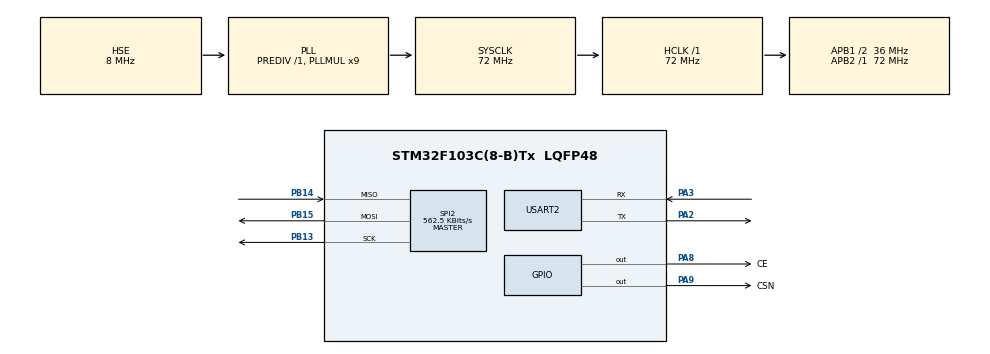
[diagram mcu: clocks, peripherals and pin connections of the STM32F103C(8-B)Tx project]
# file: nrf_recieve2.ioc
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Mcu.Family=STM32F1
Mcu.Name=STM32F103C(8-B)Tx
Mcu.Package=LQFP48
NVIC.PriorityGroup=NVIC_PRIORITYGROUP_4
PA13.Mode=Serial_Wire
PA13.Signal=SYS_JTMS-SWDIO
PA14.Mode=Serial_Wire
PA14.Signal=SYS_JTCK-SWCLK
PA2.Mode=Asynchronous
PA2.Signal=USART2_TX
PA3.Mode=Asynchronous
PA3.Signal=USART2_RX
PA8.GPIO_Label=CE
PA8.Signal=GPIO_Output
PA9.GPIO_Label=CSN
PA9.Signal=GPIO_Output
PB13.Mode=Full_Duplex_Master
PB13.Signal=SPI2_SCK
PB14.Mode=Full_Duplex_Master
PB14.Signal=SPI2_MISO
PB15.Mode=Full_Duplex_Master
PB15.Signal=SPI2_MOSI
PD0-OSC_IN.Mode=HSE-External-Oscillator
PD0-OSC_IN.Signal=RCC_OSC_IN
PD1-OSC_OUT.Mode=HSE-External-Oscillator
PD1-OSC_OUT.Signal=RCC_OSC_OUT
ProjectManager.HeapSize=0x200
ProjectManager.StackSize=0x400
ProjectManager.TargetToolchain=TrueSTUDIO
RCC.AHBFreq_Value=72000000
RCC.APB1CLKDivider=RCC_HCLK_DIV2
RCC.APB1Freq_Value=36000000
RCC.APB1TimFreq_Value=72000000
RCC.APB2Freq_Value=72000000
RCC.APB2TimFreq_Value=72000000
RCC.HCLKFreq_Value=72000000
RCC.PLLMUL=RCC_PLL_MUL9
RCC.PLLSourceVirtual=RCC_PLLSOURCE_HSE
RCC.SYSCLKFreq_VALUE=72000000
RCC.SYSCLKSource=RCC_SYSCLKSOURCE_PLLCLK
RCC.USBFreq_Value=72000000
SPI2.BaudRatePrescaler=SPI_BAUDRATEPRESCALER_64
SPI2.CalculateBaudRate=562.5 KBits/s
SPI2.Direction=SPI_DIRECTION_2LINES
SPI2.Mode=SPI_MODE_MASTER
SPI2.VirtualType=VM_MASTER
USART2.VirtualMode=VM_ASYNC
board=custom

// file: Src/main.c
/* USER CODE BEGIN Header */
/**
  ******************************************************************************
  * @file           : main.c
  * @brief          : Main program body
  ******************************************************************************
  * @attention
  *
  * <h2><center>&copy; Copyright (c) 2020 STMicroelectronics.
  * All rights reserved.</center></h2>
  *
  * This software component is licensed by ST under BSD 3-Clause license,
  * the "License"; You may not use this file except in compliance with the
  * License. You may obtain a copy of the License at:
  *                        opensource.org/licenses/BSD-3-Clause
  *
  ******************************************************************************
  */
/* USER CODE END Header */

#include "main.h"

/* USER CODE BEGIN Includes */
#include "MY_NRF24.h"
/* USER CODE END Includes */

/* USER CODE BEGIN PM */
#define max_pressure 140
#define max_temp 100
#define max_speed 140
#define max_rpm  160
#define min_voltage 5
#define max_acceleration 140
#define max_steering 200
/* USER CODE END PM */

SPI_HandleTypeDef hspi2;

UART_HandleTypeDef huart2;

void SystemClock_Config(void);
static void MX_GPIO_Init(void);
static void MX_SPI2_Init(void);
static void MX_USART2_UART_Init(void);

/* USER CODE BEGIN 0 */
uint64_t RxpipeAddrs = 0x11223344AA;
uint16_t myRxData[8];
/* USER CODE END 0 */

int main(void)
{

  /* MCU Configuration--------------------------------------------------------*/

  /* Reset of all peripherals, Initializes the Flash interface and the Systick. */
  HAL_Init();

  /* Configure the system clock */
  SystemClock_Config();

  /* Initialize all configured peripherals */
  MX_GPIO_Init();
  MX_SPI2_Init();
  MX_USART2_UART_Init();
  /* USER CODE BEGIN 2 */
  NRF24_begin(GPIOA, CSN_Pin, CE_Pin, hspi2);
  nrf24_DebugUART_Init(huart2);

  	printRadioSettings();

  	NRF24_setAutoAck(true);
  	NRF24_setChannel(52);
  	NRF24_setPayloadSize(32);
  	NRF24_openReadingPipe(1, RxpipeAddrs);
  	NRF24_enableDynamicPayloads();
  	NRF24_enableAckPayload();

  	NRF24_startListening();
  /* USER CODE END 2 */

  /* Infinite loop */
  while (1)
  {

    /* USER CODE BEGIN 3 */
	  if(NRF24_available())
	  		{
	  			NRF24_read(myRxData,16);
	  			HAL_UART_Transmit(&huart2, (uint16_t *)myRxData,16, 10);

	  			if(myRxData[0]>max_pressure)
	  			{
	  				char myAckPayload[32] ="WARNING High pressure!";
	  				NRF24_writeAckPayload(1, myAckPayload, strlen(myAckPayload));
	  			}
	  		    if (myRxData[1]>max_temp)
	  			{
	  				char myAckPayload[32] ="WARNING High temperature!";
	  				NRF24_writeAckPayload(1, myAckPayload, strlen(myAckPayload));
	  			}
	  		    if (myRxData[2]>max_speed)
	  			{
	  				char myAckPayload[32] ="WARNING Max speed!";
	  				NRF24_writeAckPayload(1, myAckPayload, strlen(myAckPayload));
	  			}
	  		    if (myRxData[3]>max_rpm)
	  			{
	  				char myAckPayload[32] ="WARNING Max RPM!";
	  				NRF24_writeAckPayload(1, myAckPayload, strlen(myAckPayload));
	  			}
	  			if (myRxData[4]<min_voltage)
	  			{
	  				char myAckPayload[32] ="WARNING Low battery voltage!";
	  				NRF24_writeAckPayload(1, myAckPayload, strlen(myAckPayload));
	  			}
	  			if (myRxData[5]>max_acceleration)
	  			{
	  				char myAckPayload[32] ="WARNING Max acceleration!";
	  				NRF24_writeAckPayload(1, myAckPayload, strlen(myAckPayload));
	  			}
	  			if (myRxData[7]>max_steering)
	  			{
	  				char myAckPayload[32] ="WARNING Max steering angle!";
	  				NRF24_writeAckPayload(1, myAckPayload, strlen(myAckPayload));
	  			}
	  		}

	    }

  /* USER CODE END 3 */
}

void SystemClock_Config(void)
{
  RCC_OscInitTypeDef RCC_OscInitStruct = {0};
  RCC_ClkInitTypeDef RCC_ClkInitStruct = {0};

  /** Initializes the CPU, AHB and APB busses clocks
  */
  RCC_OscInitStruct.OscillatorType = RCC_OSCILLATORTYPE_HSE;
  RCC_OscInitStruct.HSEState = RCC_HSE_ON;
  RCC_OscInitStruct.HSEPredivValue = RCC_HSE_PREDIV_DIV1;
  RCC_OscInitStruct.HSIState = RCC_HSI_ON;
  RCC_OscInitStruct.PLL.PLLState = RCC_PLL_ON;
  RCC_OscInitStruct.PLL.PLLSource = RCC_PLLSOURCE_HSE;
  RCC_OscInitStruct.PLL.PLLMUL = RCC_PLL_MUL9;
  if (HAL_RCC_OscConfig(&RCC_OscInitStruct) != HAL_OK)
  {
    Error_Handler();
  }
  /** Initializes the CPU, AHB and APB busses clocks
  */
  RCC_ClkInitStruct.ClockType = RCC_CLOCKTYPE_HCLK|RCC_CLOCKTYPE_SYSCLK
                              |RCC_CLOCKTYPE_PCLK1|RCC_CLOCKTYPE_PCLK2;
  RCC_ClkInitStruct.SYSCLKSource = RCC_SYSCLKSOURCE_PLLCLK;
  RCC_ClkInitStruct.AHBCLKDivider = RCC_SYSCLK_DIV1;
  RCC_ClkInitStruct.APB1CLKDivider = RCC_HCLK_DIV2;
  RCC_ClkInitStruct.APB2CLKDivider = RCC_HCLK_DIV1;

  if (HAL_RCC_ClockConfig(&RCC_ClkInitStruct, FLASH_LATENCY_2) != HAL_OK)
  {
    Error_Handler();
  }
}

static void MX_SPI2_Init(void)
{

  /* SPI2 parameter configuration*/
  hspi2.Instance = SPI2;
  hspi2.Init.Mode = SPI_MODE_MASTER;
  hspi2.Init.Direction = SPI_DIRECTION_2LINES;
  hspi2.Init.DataSize = SPI_DATASIZE_8BIT;
  hspi2.Init.CLKPolarity = SPI_POLARITY_LOW;
  hspi2.Init.CLKPhase = SPI_PHASE_1EDGE;
  hspi2.Init.NSS = SPI_NSS_SOFT;
  hspi2.Init.BaudRatePrescaler = SPI_BAUDRATEPRESCALER_64;
  hspi2.Init.FirstBit = SPI_FIRSTBIT_MSB;
  hspi2.Init.TIMode = SPI_TIMODE_DISABLE;
  hspi2.Init.CRCCalculation = SPI_CRCCALCULATION_DISABLE;
  hspi2.Init.CRCPolynomial = 10;
  if (HAL_SPI_Init(&hspi2) != HAL_OK)
  {
    Error_Handler();
  }

}

static void MX_USART2_UART_Init(void)
{

  huart2.Instance = USART2;
  huart2.Init.BaudRate = 115200;
  huart2.Init.WordLength = UART_WORDLENGTH_8B;
  huart2.Init.StopBits = UART_STOPBITS_1;
  huart2.Init.Parity = UART_PARITY_NONE;
  huart2.Init.Mode = UART_MODE_TX_RX;
  huart2.Init.HwFlowCtl = UART_HWCONTROL_NONE;
  huart2.Init.OverSampling = UART_OVERSAMPLING_16;
  if (HAL_UART_Init(&huart2) != HAL_OK)
  {
    Error_Handler();
  }

}

static void MX_GPIO_Init(void)
{
  GPIO_InitTypeDef GPIO_InitStruct = {0};

  /* GPIO Ports Clock Enable */
  __HAL_RCC_GPIOD_CLK_ENABLE();
  __HAL_RCC_GPIOA_CLK_ENABLE();
  __HAL_RCC_GPIOB_CLK_ENABLE();

  /*Configure GPIO pin Output Level */
  HAL_GPIO_WritePin(GPIOA, CE_Pin|CSN_Pin, GPIO_PIN_RESET);

  /*Configure GPIO pins : CE_Pin CSN_Pin */
  GPIO_InitStruct.Pin = CE_Pin|CSN_Pin;
  GPIO_InitStruct.Mode = GPIO_MODE_OUTPUT_PP;
  GPIO_InitStruct.Pull = GPIO_NOPULL;
  GPIO_InitStruct.Speed = GPIO_SPEED_FREQ_LOW;
  HAL_GPIO_Init(GPIOA, &GPIO_InitStruct);

}

void Error_Handler(void)
{
}

/************************ (C) COPYRIGHT STMicroelectronics *****END OF FILE****/
